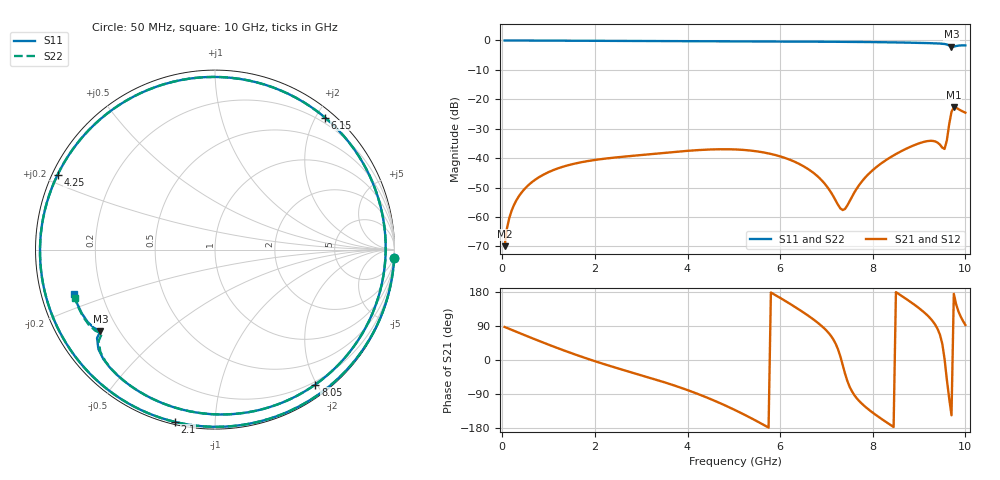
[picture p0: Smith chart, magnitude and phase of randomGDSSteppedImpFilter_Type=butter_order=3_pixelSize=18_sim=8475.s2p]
! freq	dB(S11)	phase(S11)	dB(S12)	phase(S12)
!  dB(S21)	phase(S21)	dB(S22)	phase(S22)
!S-par simulation data
#  GHz  S  DB  R 50
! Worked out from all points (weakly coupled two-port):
!   200 points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, 50 MHz to 10 GHz, reference 50 ohm
!   highest |S21| = -22.78 dB at 9.75 GHz (marker M1); lowest = -69.9 dB at 50 MHz (marker M2)
!   lowest |S11| = -2.1 dB at 9.7 GHz (marker M3), VSWR 8.25, Z = 6.67 - j15.7 ohm
!   |S11| at or under -10 dB: nowhere
!   |S22| runs from -2.1 to 0.0 dB; largest |S21 - S12| = 0
!   S11 on the Smith chart (normalised r, x): 50 MHz: 0, -45; 2.1 GHz: 0.01, -0.79; 4.25 GHz: 0.02, +0.23; 6.15 GHz: 0.12, +2.13; 8.05 GHz: 0.16, -1.98; 10 GHz: 0.10, -0.15
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0.05  -0.00 -2.6  -69.95 87.2  -69.95 87.2  -0.00 -2.6
0.1  -0.01 -5.1  -63.94 84.8  -63.94 84.8  -0.01 -5.1
0.2  -0.01 -10.2  -57.94 79.7  -57.94 79.7  -0.01 -10.2
0.5  -0.03 -25.3  -50.18 64.6  -50.18 64.6  -0.03 -25.3
1.15  -0.07 -57.6  -43.79 33.4  -43.79 33.4  -0.07 -57.6
1.75  -0.11 -86.6  -41.28 7.0  -41.28 7.0  -0.11 -86.6
2.1  -0.13 -103.1  -40.42 -7.1  -40.42 -7.1  -0.13 -103.1
2.7  -0.16 -131.1  -39.40 -29.5  -39.40 -29.5  -0.16 -131.0
3.4  -0.20 -164.0  -38.37 -54.9  -38.37 -54.9  -0.20 -163.8
4.25  -0.25 154.5  -37.26 -90.9  -37.26 -90.9  -0.25 154.8
5.05  -0.31 112.4  -37.07 -133.5  -37.07 -133.5  -0.31 112.9
5.6  -0.35 81.7  -37.96 -168.2  -37.96 -168.2  -0.34 82.3
6.15  -0.38 50.2  -40.21 152.9  -40.21 152.9  -0.38 50.9
6.7  -0.41 18.8  -44.79 108.8  -44.79 108.8  -0.41 19.6
7.35  -0.47 -17.0  -57.67 -12.8  -57.67 -12.8  -0.46 -16.2
8.05  -0.57 -53.4  -43.41 -143.6  -43.41 -143.6  -0.56 -52.6
8.35  -0.63 -68.6  -40.03 -168.7  -40.03 -168.7  -0.63 -67.7
9.15  -0.88 -110.3  -34.31 121.3  -34.31 121.3  -0.88 -109.3
9.55  -1.20 -135.6  -36.89 3.0  -36.89 3.0  -1.18 -134.4
9.7  -2.12 -144.6  -24.27 -146.0  -24.27 -146.0  -2.08 -143.3
9.75  -2.11 -144.9  -22.78 174.7  -22.78 174.7  -2.08 -143.6
10  -1.68 -162.5  -24.55 92.4  -24.55 92.4  -1.66 -160.9
